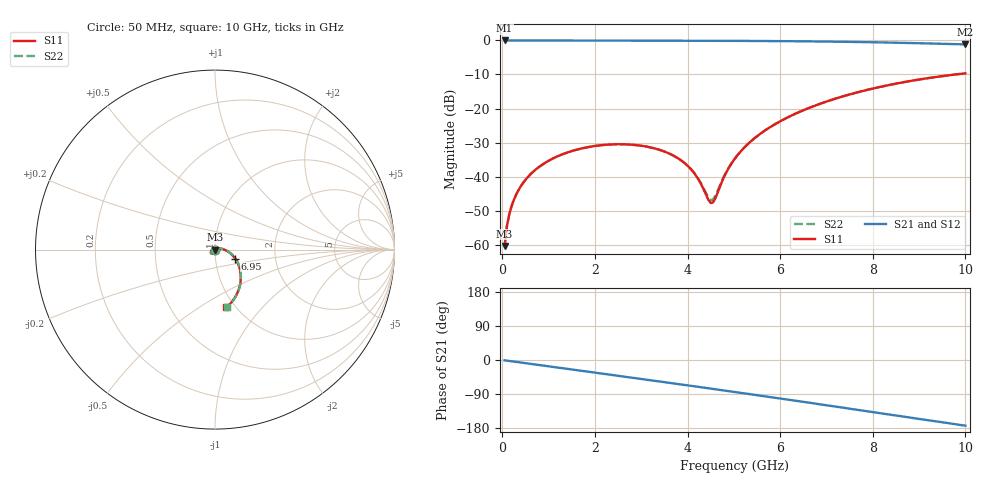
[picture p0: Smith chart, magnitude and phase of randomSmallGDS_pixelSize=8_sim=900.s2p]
! freq	dB(S11)	phase(S11)	dB(S12)	phase(S12)
!  dB(S21)	phase(S21)	dB(S22)	phase(S22)
!S-par simulation data
#  GHz  S  DB  R 50
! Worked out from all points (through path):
!   200 points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, 50 MHz to 10 GHz, reference 50 ohm
!   highest |S21| = 0.00 dB at 50 MHz (marker M1); lowest = -1.2 dB at 10 GHz (marker M2)
!   group delay of S21, straight-line fit = 48.2 ps
!   lowest |S11| = -60.4 dB at 50 MHz (marker M3), VSWR 1.00, Z = 50 - j0.0952 ohm
!   |S11| at or under -10 dB: start of sweep to 9.782 GHz
!   |S22| runs from -60.5 to -9.7 dB; largest |S21 - S12| = 0
!   S11 on the Smith chart (normalised r, x): 50 MHz: 1.00, -0.00; 6.95 GHz: 1.25, -0.13; 10 GHz: 0.91, -0.66
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0.05  -60.43 -90.6  -0.00 -0.8  -0.00 -0.8  -60.46 -90.4
0.1  -54.55 -92.7  -0.00 -1.7  -0.00 -1.7  -54.56 -92.5
0.2  -48.71 -94.7  -0.00 -3.4  -0.00 -3.4  -48.71 -94.6
0.35  -43.97 -97.0  -0.00 -5.9  -0.00 -5.9  -43.97 -97.1
0.5  -40.97 -99.5  -0.01 -8.4  -0.01 -8.4  -40.96 -99.6
1  -35.35 -108.1  -0.02 -16.7  -0.02 -16.7  -35.35 -108.2
1.75  -31.63 -121.4  -0.03 -29.1  -0.03 -29.1  -31.63 -121.5
2.6  -30.50 -136.7  -0.05 -43.3  -0.05 -43.3  -30.50 -137.0
3.4  -32.17 -152.6  -0.07 -56.7  -0.07 -56.7  -32.16 -153.2
3.75  -34.26 -161.3  -0.08 -62.6  -0.08 -62.6  -34.25 -162.2
4.05  -37.49 -172.0  -0.08 -67.7  -0.08 -67.7  -37.44 -173.5
4.25  -41.17 174.6  -0.09 -71.2  -0.09 -71.2  -41.04 172.3
4.5  -47.77 115.6  -0.10 -75.4  -0.10 -75.4  -46.95 114.3
4.6  -46.41 73.3  -0.10 -77.2  -0.10 -77.2  -45.72 75.4
4.8  -39.78 35.0  -0.11 -80.6  -0.11 -80.6  -39.58 37.3
5.05  -34.24 19.6  -0.12 -84.9  -0.12 -84.9  -34.16 21.1
5.35  -29.86 9.6  -0.14 -90.1  -0.14 -90.1  -29.82 10.6
5.7  -26.21 1.0  -0.17 -96.3  -0.17 -96.3  -26.19 1.8
6.7  -19.43 -19.3  -0.28 -114.0  -0.28 -114.0  -19.42 -18.8
6.95  -18.19 -24.0  -0.32 -118.5  -0.32 -118.5  -18.18 -23.6
8.35  -13.10 -49.8  -0.62 -143.7  -0.62 -143.7  -13.09 -49.5
10  -9.67 -78.9  -1.15 -173.3  -1.15 -173.3  -9.66 -78.6
